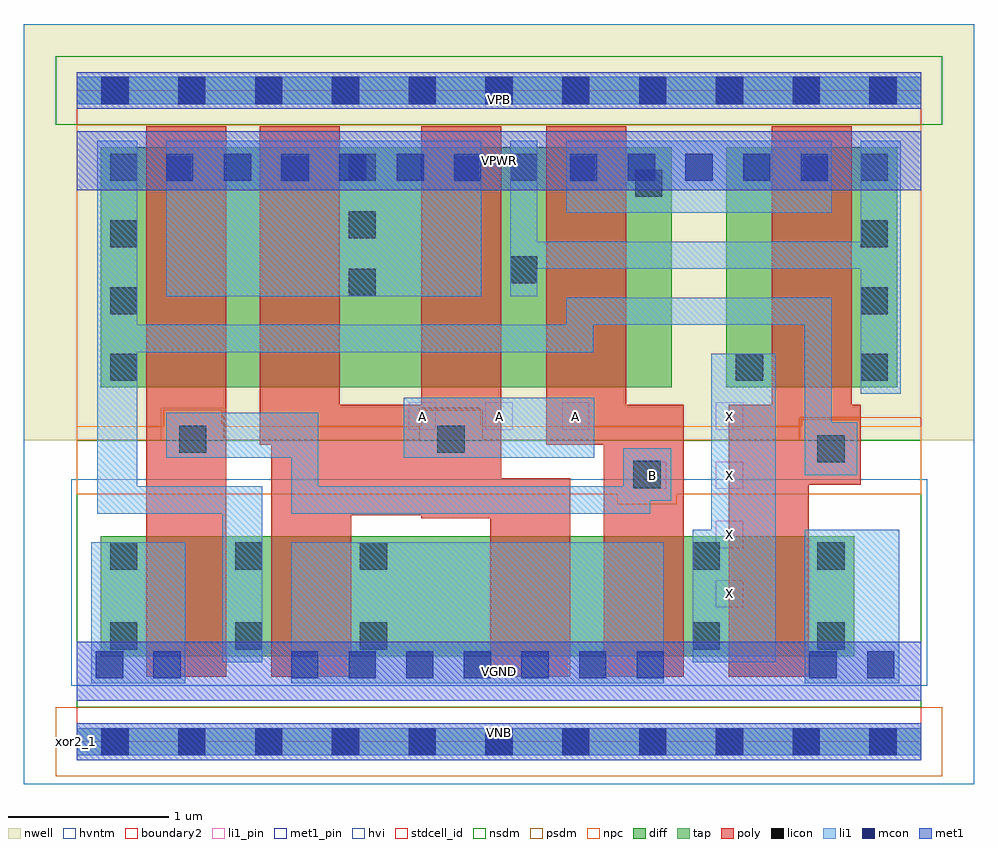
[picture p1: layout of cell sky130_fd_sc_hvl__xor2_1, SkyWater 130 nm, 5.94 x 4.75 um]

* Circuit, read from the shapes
.subckt sky130_fd_sc_hvl__xor2_1 A B VGND VNB VPB VPWR X
XM1 n1 B VGND VNB sky130_fd_pr__nfet_g5v0d10v5 w=0.75 l=0.5
XM2 VGND A n1 VNB sky130_fd_pr__nfet_g5v0d10v5 w=0.75 l=0.5
XM3 n2 A VGND VNB sky130_fd_pr__nfet_g5v0d10v5 w=0.75 l=0.5
XM4 X B n2 VNB sky130_fd_pr__nfet_g5v0d10v5 w=0.75 l=0.5
XM5 VGND n1 X VNB sky130_fd_pr__nfet_g5v0d10v5 w=0.75 l=0.5
XM6 n3 B n1 VPB sky130_fd_pr__pfet_g5v0d10v5 w=1.5 l=0.5
XM7 VPWR A n3 VPB sky130_fd_pr__pfet_g5v0d10v5 w=1.5 l=0.5
XM8 n4 A VPWR VPB sky130_fd_pr__pfet_g5v0d10v5 w=1.5 l=0.5
XM9 VPWR B n4 VPB sky130_fd_pr__pfet_g5v0d10v5 w=1.5 l=0.5
XM10 n4 n1 X VPB sky130_fd_pr__pfet_g5v0d10v5 w=1.5 l=0.5
.ends

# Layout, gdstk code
import gdstk
lib = gdstk.Library(unit=1e-6, precision=1e-09)
def R(c, l, rs):  # rectangles x0, y0, x1, y1
    for r in rs: c.add(gdstk.rectangle(r[:2], r[2:], *l))
def A(c, l, x, y, w, h, nx, ny, dx, dy):  # array of equal rectangles
    R(c, l, [(x+i*dx, y+j*dy, x+i*dx+w, y+j*dy+h) for i in range(nx) for j in range(ny)])
def P(c, l, *ps):  # polygons
    for p in ps: c.add(gdstk.Polygon(p, *l))
nwell = (64, 20)
diff = (65, 20)
tap = (65, 44)
poly = (66, 20)
licon = (66, 44)
li1_pin = (67, 16)
li1 = (67, 20)
mcon = (67, 44)
met1_pin = (68, 16)
met1 = (68, 20)
hvi = (75, 20)
stdcell_id = (81, 4)
nsdm = (93, 44)
psdm = (94, 20)
npc = (95, 20)
hvntm = (125, 20)
boundary2 = (236, 0)

sky130_fd_sc_hvl__xor2_1 = lib.new_cell('sky130_fd_sc_hvl__xor2_1')
R(sky130_fd_sc_hvl__xor2_1, nwell, [(-0.33,1.885,5.61,4.485)])
R(sky130_fd_sc_hvl__xor2_1, diff, [(0.15,0.535,4.86,1.285), (0.15,2.215,3.72,3.715), (4.06,2.215,5.13,3.715)])
R(sky130_fd_sc_hvl__xor2_1, tap, [(0,-0.085,5.28,0.085), (0,3.985,5.28,4.155)])
R(sky130_fd_sc_hvl__xor2_1, poly, [(0.435,0.405,0.935,3.845)])
P(sky130_fd_sc_hvl__xor2_1, poly, [(3.085,1.645),(2.655,1.645),(2.655,3.845),(2.155,3.845),(2.155,2.105),(1.645,2.105),(1.645,3.845),(1.145,3.845),(1.145,1.855),(1.215,1.855),(1.215,0.405),(1.715,0.405),(1.715,1.415),(2.155,1.415),(2.155,1.395),(2.585,1.395),(2.585,0.405),(3.085,0.405)],
  [(3.795,2.105),(3.435,2.105),(3.435,3.845),(2.935,3.845),(2.935,1.855),(3.295,1.855),(3.295,0.405),(3.795,0.405)],
  [(4.9,2.105),(4.845,2.105),(4.845,3.845),(4.345,3.845),(4.345,2.105),(4.075,2.105),(4.075,0.405),(4.575,0.405),(4.575,1.605),(4.9,1.605)])
A(sky130_fd_sc_hvl__xor2_1, licon, 0.155, -0.085, 0.17, 0.17, 11, 2, 0.48, 4.07)
A(sky130_fd_sc_hvl__xor2_1, licon, 0.21, 0.575, 0.17, 0.17, 3, 2, 0.78, 0.5)
A(sky130_fd_sc_hvl__xor2_1, licon, 1.7, 2.785, 0.17, 0.17, 1, 3, 0, 0.36)
R(sky130_fd_sc_hvl__xor2_1, licon, [(3.85,0.575,4.02,0.745), (4.63,0.575,4.8,0.745), (3.85,1.075,4.02,1.245), (4.63,1.075,4.8,1.245), (3.48,1.585,3.65,1.755), (4.63,1.745,4.8,1.915), (0.64,1.805,0.81,1.975), (2.255,1.805,2.425,1.975), (0.21,2.255,0.38,2.425), (4.12,2.255,4.29,2.425), (4.9,2.255,5.07,2.425), (0.21,2.67,0.38,2.84), (4.9,2.67,5.07,2.84), (2.71,2.865,2.88,3.035), (0.21,3.09,0.38,3.26), (4.9,3.09,5.07,3.26), (3.49,3.405,3.66,3.575), (0.21,3.505,0.38,3.675), (2.71,3.505,2.88,3.675), (4.9,3.505,5.07,3.675)])
A(sky130_fd_sc_hvl__xor2_1, li1_pin, 3.995, 0.84, 0.17, 0.17, 1, 4, 0, 0.37)
A(sky130_fd_sc_hvl__xor2_1, li1_pin, 2.075, 1.95, 0.17, 0.17, 3, 1, 0.48, 0)
R(sky130_fd_sc_hvl__xor2_1, li1_pin, [(3.515,1.58,3.685,1.75)])
R(sky130_fd_sc_hvl__xor2_1, li1, [(0,-0.085,5.28,0.085), (0.09,0.365,0.68,1.245), (1.34,0.365,3.67,1.245), (4.55,0.365,5.14,1.325), (2.045,1.775,3.235,2.15), (0.56,2.785,2.53,3.755), (3.06,3.305,4.72,3.755), (0,3.985,5.28,4.155)])
P(sky130_fd_sc_hvl__xor2_1, li1, [(3.715,1.835),(3.415,1.835),(3.415,1.595),(1.51,1.595),(1.51,2.055),(0.56,2.055),(0.56,1.775),(1.34,1.775),(1.34,1.425),(3.585,1.425),(3.585,1.505),(3.715,1.505)],
  [(4.37,2.425),(3.965,2.425),(3.965,1.325),(3.85,1.325),(3.85,0.495),(4.37,0.495)],
  [(4.88,1.995),(4.72,1.995),(4.72,2.775),(3.06,2.775),(3.06,2.605),(0.38,2.605),(0.38,3.755),(0.13,3.755),(0.13,1.425),(0.91,1.425),(0.91,0.495),(1.16,0.495),(1.16,1.595),(0.38,1.595),(0.38,2.435),(3.23,2.435),(3.23,2.605),(4.55,2.605),(4.55,1.665),(4.88,1.665)],
  [(5.15,3.755),(4.9,3.755),(4.9,3.125),(2.88,3.125),(2.88,3.755),(2.71,3.755),(2.71,2.785),(2.88,2.785),(2.88,2.955),(4.9,2.955),(4.9,2.175),(5.15,2.175)])
A(sky130_fd_sc_hvl__xor2_1, mcon, 1.34, 0.395, 0.17, 0.17, 7, 1, 0.36, 0)
A(sky130_fd_sc_hvl__xor2_1, mcon, 0.56, 3.505, 0.17, 0.17, 6, 1, 0.36, 0)
A(sky130_fd_sc_hvl__xor2_1, mcon, 3.085, 3.505, 0.17, 0.17, 5, 1, 0.36, 0)
R(sky130_fd_sc_hvl__xor2_1, mcon, [(0.155,-0.085,0.325,0.085), (0.155,-0.085,0.325,0.085), (0.635,-0.085,0.805,0.085), (0.635,-0.085,0.805,0.085), (1.115,-0.085,1.285,0.085), (1.115,-0.085,1.285,0.085), (1.595,-0.085,1.765,0.085), (1.595,-0.085,1.765,0.085), (2.075,-0.085,2.245,0.085), (2.075,-0.085,2.245,0.085), (2.555,-0.085,2.725,0.085), (2.555,-0.085,2.725,0.085), (3.035,-0.085,3.205,0.085), (3.035,-0.085,3.205,0.085), (3.515,-0.085,3.685,0.085), (3.515,-0.085,3.685,0.085), (3.995,-0.085,4.165,0.085), (3.995,-0.085,4.165,0.085), (4.475,-0.085,4.645,0.085), (4.475,-0.085,4.645,0.085), (4.955,-0.085,5.125,0.085), (4.955,-0.085,5.125,0.085), (0.12,0.395,0.29,0.565), (0.48,0.395,0.65,0.565), (4.58,0.395,4.75,0.565), (4.94,0.395,5.11,0.565), (0.155,3.985,0.325,4.155), (0.155,3.985,0.325,4.155), (0.635,3.985,0.805,4.155), (0.635,3.985,0.805,4.155), (1.115,3.985,1.285,4.155), (1.115,3.985,1.285,4.155), (1.595,3.985,1.765,4.155), (1.595,3.985,1.765,4.155), (2.075,3.985,2.245,4.155), (2.075,3.985,2.245,4.155), (2.555,3.985,2.725,4.155), (2.555,3.985,2.725,4.155), (3.035,3.985,3.205,4.155), (3.035,3.985,3.205,4.155), (3.515,3.985,3.685,4.155), (3.515,3.985,3.685,4.155), (3.995,3.985,4.165,4.155), (3.995,3.985,4.165,4.155), (4.475,3.985,4.645,4.155), (4.475,3.985,4.645,4.155), (4.955,3.985,5.125,4.155), (4.955,3.985,5.125,4.155)])
R(sky130_fd_sc_hvl__xor2_1, met1_pin, [(0,0,5.28,0.115), (0,0.255,5.28,0.625), (0,3.445,5.28,3.815), (0,3.955,5.28,4.07)])
R(sky130_fd_sc_hvl__xor2_1, met1, [(0,-0.115,5.28,0.115), (0,0.255,5.28,0.625), (0,3.445,5.28,3.815), (0,3.955,5.28,4.185)])
R(sky130_fd_sc_hvl__xor2_1, hvi, [(-0.33,-0.265,5.61,4.485)])
R(sky130_fd_sc_hvl__xor2_1, stdcell_id, [(0,0,5.28,4.07)])
R(sky130_fd_sc_hvl__xor2_1, nsdm, [(0,0.215,5.28,1.885), (-0.13,3.855,5.41,4.285), (0,3.855,5.28,4.07)])
R(sky130_fd_sc_hvl__xor2_1, psdm, [(-0.13,-0.215,5.41,0.215)])
P(sky130_fd_sc_hvl__xor2_1, psdm, [(5.28,3.855),(0,3.855),(0,1.885),(0.53,1.885),(0.53,2.085),(0.92,2.085),(0.92,1.885),(2.145,1.885),(2.145,2.085),(2.535,2.085),(2.535,1.885),(4.52,1.885),(4.52,2.025),(5.28,2.025)])
P(sky130_fd_sc_hvl__xor2_1, npc, [(5.28,1.97),(4.9,1.97),(4.9,2.015),(4.53,2.015),(4.53,1.97),(2.525,1.97),(2.525,2.075),(2.155,2.075),(2.155,1.97),(0.91,1.97),(0.91,2.075),(0.54,2.075),(0.54,1.97),(0,1.97),(0,1.545),(3.38,1.545),(3.38,1.485),(3.75,1.485),(3.75,1.545),(5.28,1.545)])
R(sky130_fd_sc_hvl__xor2_1, hvntm, [(-0.035,0.35,5.315,1.64)])
R(sky130_fd_sc_hvl__xor2_1, boundary2, [(0,0,5.28,4.07)])
sky130_fd_sc_hvl__xor2_1.add(gdstk.Label('xor2_1', (0,0), layer=83, texttype=44))
sky130_fd_sc_hvl__xor2_1.add(gdstk.Label('VGND', (2.64,0.44), layer=68, texttype=5))
sky130_fd_sc_hvl__xor2_1.add(gdstk.Label('VNB', (2.64,0.058), layer=68, texttype=5))
sky130_fd_sc_hvl__xor2_1.add(gdstk.Label('VPWR', (2.64,3.63), layer=68, texttype=5))
sky130_fd_sc_hvl__xor2_1.add(gdstk.Label('VPB', (2.64,4.013), layer=68, texttype=5))
sky130_fd_sc_hvl__xor2_1.add(gdstk.Label('A', (2.16,2.035), layer=67, texttype=5))
sky130_fd_sc_hvl__xor2_1.add(gdstk.Label('A', (2.64,2.035), layer=67, texttype=5))
sky130_fd_sc_hvl__xor2_1.add(gdstk.Label('A', (3.12,2.035), layer=67, texttype=5))
sky130_fd_sc_hvl__xor2_1.add(gdstk.Label('X', (4.08,0.925), layer=67, texttype=5))
sky130_fd_sc_hvl__xor2_1.add(gdstk.Label('X', (4.08,1.295), layer=67, texttype=5))
sky130_fd_sc_hvl__xor2_1.add(gdstk.Label('X', (4.08,1.665), layer=67, texttype=5))
sky130_fd_sc_hvl__xor2_1.add(gdstk.Label('X', (4.08,2.035), layer=67, texttype=5))
sky130_fd_sc_hvl__xor2_1.add(gdstk.Label('B', (3.6,1.665), layer=67, texttype=5))

lib.write_gds('sky130_fd_sc_hvl__xor2_1.gds')
